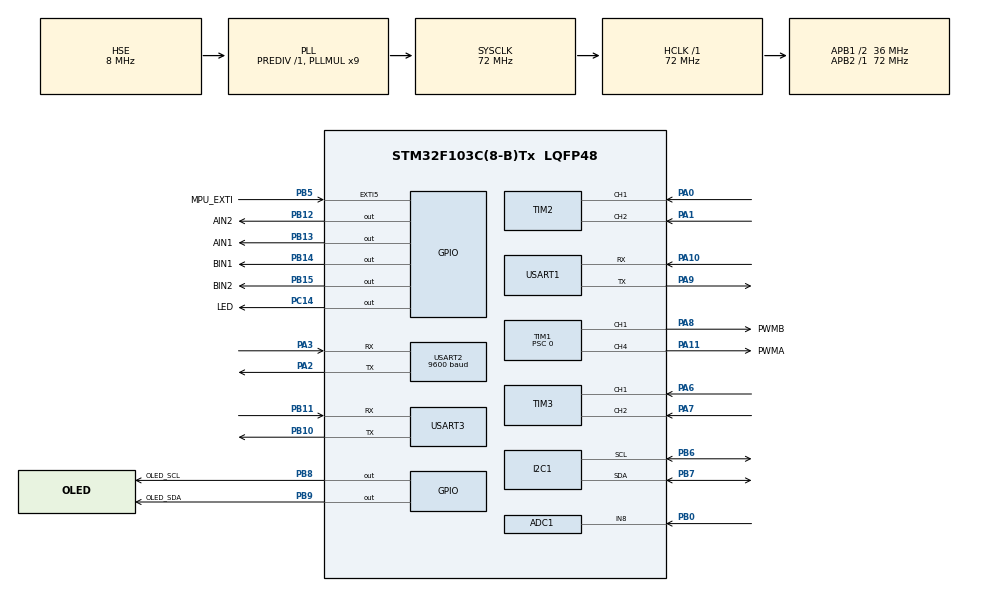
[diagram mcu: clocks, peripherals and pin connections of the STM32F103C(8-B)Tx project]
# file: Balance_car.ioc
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ADC1.Channel-0\#ChannelRegularConversion=ADC_CHANNEL_8
ADC1.NbrOfConversionFlag=1
ADC1.Rank-0\#ChannelRegularConversion=1
ADC1.SamplingTime-0\#ChannelRegularConversion=ADC_SAMPLETIME_1CYCLE_5
ADC1.master=1
I2C1.I2C_Mode=I2C_Fast
Mcu.Family=STM32F1
Mcu.Name=STM32F103C(8-B)Tx
Mcu.Package=LQFP48
NVIC.EXTI9_5_IRQn=true\:3\:0\:true\:false\:true\:true\:true\:true
NVIC.PriorityGroup=NVIC_PRIORITYGROUP_4
NVIC.TIM2_IRQn=true\:1\:0\:true\:false\:true\:true\:true\:true
NVIC.TIM3_IRQn=true\:1\:0\:true\:false\:true\:true\:true\:true
NVIC.USART1_IRQn=true\:2\:0\:true\:false\:true\:true\:true\:true
NVIC.USART2_IRQn=true\:2\:0\:true\:false\:true\:true\:true\:true
NVIC.USART3_IRQn=true\:2\:0\:true\:false\:true\:true\:true\:true
PA0-WKUP.GPIO_PuPd=GPIO_PULLUP
PA0-WKUP.Signal=S_TIM2_CH1_ETR
PA1.GPIO_PuPd=GPIO_PULLUP
PA1.Signal=S_TIM2_CH2
PA10.Mode=Asynchronous
PA10.Signal=USART1_RX
PA11.GPIO_Label=PWMA
PA11.Signal=S_TIM1_CH4
PA13.Mode=Serial_Wire
PA13.Signal=SYS_JTMS-SWDIO
PA14.Mode=Serial_Wire
PA14.Signal=SYS_JTCK-SWCLK
PA2.Mode=Asynchronous
PA2.Signal=USART2_TX
PA3.Mode=Asynchronous
PA3.Signal=USART2_RX
PA6.GPIO_PuPd=GPIO_PULLUP
PA6.Signal=S_TIM3_CH1
PA7.GPIO_PuPd=GPIO_PULLUP
PA7.Signal=S_TIM3_CH2
PA8.GPIO_Label=PWMB
PA8.Signal=S_TIM1_CH1
PA9.Mode=Asynchronous
PA9.Signal=USART1_TX
PB0.Signal=ADCx_IN8
PB10.Mode=Asynchronous
PB10.Signal=USART3_TX
PB11.Mode=Asynchronous
PB11.Signal=USART3_RX
PB12.GPIO_Label=AIN2
PB12.GPIO_Speed=GPIO_SPEED_FREQ_MEDIUM
PB12.Signal=GPIO_Output
PB13.GPIO_Label=AIN1
PB13.GPIO_Speed=GPIO_SPEED_FREQ_MEDIUM
PB13.Signal=GPIO_Output
PB14.GPIO_Label=BIN1
PB14.GPIO_Speed=GPIO_SPEED_FREQ_MEDIUM
PB14.Signal=GPIO_Output
PB15.GPIO_Label=BIN2
PB15.GPIO_Speed=GPIO_SPEED_FREQ_MEDIUM
PB15.Signal=GPIO_Output
PB5.GPIO_Label=MPU_EXTI
PB5.GPIO_ModeDefaultEXTI=GPIO_MODE_IT_FALLING
PB5.Signal=GPXTI5
PB6.Mode=I2C
PB6.Signal=I2C1_SCL
PB7.Mode=I2C
PB7.Signal=I2C1_SDA
PB8.GPIO_Label=OLED_SCL
PB8.GPIO_Speed=GPIO_SPEED_FREQ_HIGH
PB8.Signal=GPIO_Output
PB9.GPIO_Label=OLED_SDA
PB9.GPIO_Speed=GPIO_SPEED_FREQ_HIGH
PB9.Signal=GPIO_Output
PC14-OSC32_IN.GPIO_Label=LED
PC14-OSC32_IN.GPIO_ModeDefaultOutputPP=GPIO_MODE_OUTPUT_PP
PC14-OSC32_IN.GPIO_PuPd=GPIO_PULLUP
PC14-OSC32_IN.PinState=GPIO_PIN_SET
PC14-OSC32_IN.Signal=GPIO_Output
PD0-OSC_IN.Mode=HSE-External-Oscillator
PD0-OSC_IN.Signal=RCC_OSC_IN
PD1-OSC_OUT.Mode=HSE-External-Oscillator
PD1-OSC_OUT.Signal=RCC_OSC_OUT
ProjectManager.HeapSize=0x200
ProjectManager.StackSize=0x400
ProjectManager.TargetToolchain=MDK-ARM V5.32
RCC.ADCPresc=RCC_ADCPCLK2_DIV6
RCC.AHBFreq_Value=72000000
RCC.APB1CLKDivider=RCC_HCLK_DIV2
RCC.APB1Freq_Value=36000000
RCC.APB1TimFreq_Value=72000000
RCC.APB2Freq_Value=72000000
RCC.APB2TimFreq_Value=72000000
RCC.HCLKFreq_Value=72000000
RCC.PLLMUL=RCC_PLL_MUL9
RCC.PLLSourceVirtual=RCC_PLLSOURCE_HSE
RCC.SYSCLKFreq_VALUE=72000000
RCC.SYSCLKSource=RCC_SYSCLKSOURCE_PLLCLK
RCC.USBFreq_Value=72000000
SH.ADCx_IN8.0=ADC1_IN8,IN8
SH.S_TIM1_CH1.0=TIM1_CH1,PWM Generation1 CH1
SH.S_TIM1_CH4.0=TIM1_CH4,PWM Generation4 CH4
SH.S_TIM2_CH1_ETR.0=TIM2_CH1,Encoder_Interface
SH.S_TIM2_CH2.0=TIM2_CH2,Encoder_Interface
SH.S_TIM3_CH1.0=TIM3_CH1,Encoder_Interface
SH.S_TIM3_CH2.0=TIM3_CH2,Encoder_Interface
TIM1.AutoReloadPreload=TIM_AUTORELOAD_PRELOAD_ENABLE
TIM1.Channel-PWM\ Generation1\ CH1=TIM_CHANNEL_1
TIM1.Channel-PWM\ Generation4\ CH4=TIM_CHANNEL_4
TIM1.Period=7200-1
TIM1.Prescaler=0
TIM2.AutoReloadPreload=TIM_AUTORELOAD_PRELOAD_ENABLE
TIM2.EncoderMode=TIM_ENCODERMODE_TI12
TIM2.IC1Filter=10
TIM2.IC2Filter=10
TIM3.AutoReloadPreload=TIM_AUTORELOAD_PRELOAD_ENABLE
TIM3.EncoderMode=TIM_ENCODERMODE_TI12
TIM3.IC1Filter=10
TIM3.IC2Filter=10
TIM4.AutoReloadPreload=TIM_AUTORELOAD_PRELOAD_ENABLE
TIM4.Period=1000-1
TIM4.Prescaler=72-1
USART1.VirtualMode=VM_ASYNC
USART2.BaudRate=9600
USART2.VirtualMode=VM_ASYNC
USART3.VirtualMode=VM_ASYNC
VP_TIM1_VS_ClockSourceINT.Mode=Internal
VP_TIM4_VS_ClockSourceINT.Mode=Internal
board=custom

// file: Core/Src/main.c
/* USER CODE BEGIN Header */
/**
  ******************************************************************************
  * @file           : main.c
  * @brief          : Main program body
  ******************************************************************************
  * @attention
  *
  * Copyright (c) 2023 STMicroelectronics.
  * All rights reserved.
  *
  * This software is licensed under terms that can be found in the LICENSE file
  * in the root directory of this software component.
  * If no LICENSE file comes with this software, it is provided AS-IS.
  *
  ******************************************************************************
  */
/* USER CODE END Header */
#include "main.h"
#include "adc.h"
#include "i2c.h"
#include "tim.h"
#include "usart.h"
#include "gpio.h"

/* USER CODE BEGIN Includes */
#include <stdio.h>
#include <string.h>

#include "oled.h"
#include "badc.h"
#include "led.h"

#include "mpu6050.h"
#include "inv_mpu.h"

#include "motor.h"
#include "control.h"
/* USER CODE END Includes */

/* USER CODE BEGIN PM */
char oled_text[16];
/* USER CODE END PM */

/* USER CODE BEGIN PV */
double volt=0.0f;

float pitch,roll,yaw; 								  			 //欧拉角(姿态角)
short aacx,aacy,aacz;													 //加速度传感器原始数据
short gyrox,gyroy,gyroz;											 //陀螺仪原始数据

uint8_t usart3_pData;
uint8_t usart2_pData;
unsigned char buletooth_data[20];

int remote_data=0;

/* USER CODE END PV */

void SystemClock_Config(void);
/* USER CODE BEGIN PFP */
//定义 串口调试
float tempFloat[3];                    //定义的临时变量
uint8_t tempData[16];                    //定义的传输Buffer
/* USER CODE END PFP */

/* USER CODE BEGIN 0 */
int fputc(int ch, FILE *f)
{ //printf重定向
  HAL_UART_Transmit(&huart1, (uint8_t *)&ch, 1, 0xFFFF);
  return (ch);
}

void oled_show(){
	sprintf(oled_text,"   Balance_car"   );
	OLED_ShowString(0,0,(unsigned char *)oled_text,12);

	//OLED_ShowString(0,0,(unsigned char *)"ANGLE:",12);
	OLED_ShowString(0,1,(unsigned char *)"BAT :",12);
	OLED_ShowString(90,1,(unsigned char *)"V",12);
	//OLED_ShowString(0,2,(unsigned char *)"Distance:",12);
	OLED_ShowString(60,2,(unsigned char *)"R: ",12);
	OLED_ShowString(1,2,(unsigned char *)"L: ",12);

	OLED_ShowString(0,4,(unsigned char *)"YAW:",12);
	OLED_ShowString(0,5,(unsigned char *)"PTICH:",12);

	OLED_ShowString(0,6,(unsigned char *)"remote: ",12);
}

void oled_proc(){
	OLED_Float(1,48,volt,1);						//显示电压

	OLED_ShowNum(80,2,Encoder_Right,3,12);					//显示右边电机的编码器值
	OLED_ShowNum(20,2,Encoder_Left,3,12);					//显示左边电机的编码器值

	OLED_Float(4,56,yaw,1);	//显示yaw

	OLED_Float(5,56,pitch,1);	//显示pitch

	OLED_ShowNum(60,6,remote_data,3,12);					//显示左边电机的编码器值

}
void vofa_send(){
	tempFloat[0] = (float)yaw;    //转成浮点数
	tempFloat[1] = (float)pitch;
	tempFloat[2] = (float)roll;
	memcpy(tempData, (uint8_t *)tempFloat, sizeof(tempFloat));//通过拷贝把数据重新整理
	tempData[12] = 0x00;                    //写如结尾数据
	tempData[13] = 0x00;
	tempData[14] = 0x80;
	tempData[15] = 0x7f;

	HAL_UART_Transmit_IT(&huart1, (uint8_t *)tempData, 16);    //通过串口传输16个数据
}
/* USER CODE END 0 */

int main(void)
{

  /* MCU Configuration--------------------------------------------------------*/

  /* Reset of all peripherals, Initializes the Flash interface and the Systick. */
  HAL_Init();

  /* Configure the system clock */
  SystemClock_Config();

  /* Initialize all configured peripherals */
  MX_GPIO_Init();
  MX_I2C1_Init();
  MX_ADC1_Init();
  MX_USART3_UART_Init();
  MX_TIM2_Init();
  MX_TIM3_Init();
  MX_TIM1_Init();
  MX_TIM4_Init();
  MX_USART2_UART_Init();
  MX_USART1_UART_Init();
  /* USER CODE BEGIN 2 */
	//关闭外部中断
	HAL_NVIC_DisableIRQ(EXTI9_5_IRQn);
	//初始化串口
	HAL_UART_Receive_IT(&huart2, &usart2_pData, 1);
	//HAL_UART_Receive_IT(&huart3, &usart3_pData, 1);
	//初始化oled
	SSD1315_Init();
	HAL_Delay(100);
	OLED_Clear();
	oled_show();

	MPU_Init();//=====初始化MPU6050
	HAL_Delay(100);

	//初始化编码器
	Encoder_Start();
	//初始化电机
	Motor_Start();

	//初始化mpu
	while(MPU_DMP_Init())//=====初始化MPU6050的DMP模式
	{
		printf("-- DMP Init -- \r\n");
		HAL_Delay(20);
	}
	//初始化控制器
	HAL_NVIC_EnableIRQ(EXTI9_5_IRQn);
  /* USER CODE END 2 */

  /* Infinite loop */
  while (1)
  {

    /* USER CODE BEGIN 3 */
		volt=get_volt();
		oled_proc();
		//printf("%f,%f,%f\r\n", pitch, roll, yaw);   //串口打印欧拉角
  }
  /* USER CODE END 3 */
}

void SystemClock_Config(void)
{
  RCC_OscInitTypeDef RCC_OscInitStruct = {0};
  RCC_ClkInitTypeDef RCC_ClkInitStruct = {0};
  RCC_PeriphCLKInitTypeDef PeriphClkInit = {0};

  /** Initializes the RCC Oscillators according to the specified parameters
  * in the RCC_OscInitTypeDef structure.
  */
  RCC_OscInitStruct.OscillatorType = RCC_OSCILLATORTYPE_HSE;
  RCC_OscInitStruct.HSEState = RCC_HSE_ON;
  RCC_OscInitStruct.HSEPredivValue = RCC_HSE_PREDIV_DIV1;
  RCC_OscInitStruct.HSIState = RCC_HSI_ON;
  RCC_OscInitStruct.PLL.PLLState = RCC_PLL_ON;
  RCC_OscInitStruct.PLL.PLLSource = RCC_PLLSOURCE_HSE;
  RCC_OscInitStruct.PLL.PLLMUL = RCC_PLL_MUL9;
  if (HAL_RCC_OscConfig(&RCC_OscInitStruct) != HAL_OK)
  {
    Error_Handler();
  }

  /** Initializes the CPU, AHB and APB buses clocks
  */
  RCC_ClkInitStruct.ClockType = RCC_CLOCKTYPE_HCLK|RCC_CLOCKTYPE_SYSCLK
                              |RCC_CLOCKTYPE_PCLK1|RCC_CLOCKTYPE_PCLK2;
  RCC_ClkInitStruct.SYSCLKSource = RCC_SYSCLKSOURCE_PLLCLK;
  RCC_ClkInitStruct.AHBCLKDivider = RCC_SYSCLK_DIV1;
  RCC_ClkInitStruct.APB1CLKDivider = RCC_HCLK_DIV2;
  RCC_ClkInitStruct.APB2CLKDivider = RCC_HCLK_DIV1;

  if (HAL_RCC_ClockConfig(&RCC_ClkInitStruct, FLASH_LATENCY_2) != HAL_OK)
  {
    Error_Handler();
  }
  PeriphClkInit.PeriphClockSelection = RCC_PERIPHCLK_ADC;
  PeriphClkInit.AdcClockSelection = RCC_ADCPCLK2_DIV6;
  if (HAL_RCCEx_PeriphCLKConfig(&PeriphClkInit) != HAL_OK)
  {
    Error_Handler();
  }
}

/* USER CODE BEGIN 4 */
void HAL_GPIO_EXTI_Callback(uint16_t GPIO_PIN)
{
	switch(GPIO_PIN)
	{
		case GPIO_PIN_5:
		{
			led_proc(50);
			MPU_Get_Gyroscope(&gyrox,&gyroy,&gyroz);								 //===得到陀螺仪数据
			MPU_DMP_Get_Data(&pitch,&roll,&yaw);										 //===得到欧拉角（姿态角）的数据
			control_proc();
		}break;
	}
}

void HAL_UART_RxCpltCallback(UART_HandleTypeDef *huart){
	if(huart->Instance==USART2)
	{
		remote_data=usart2_pData;
		HAL_UART_Receive_IT(&huart2, &usart2_pData, 1);
	}
}

/* USER CODE END 4 */

void Error_Handler(void)
{
  __disable_irq();
  while (1)
  {
  }
}
